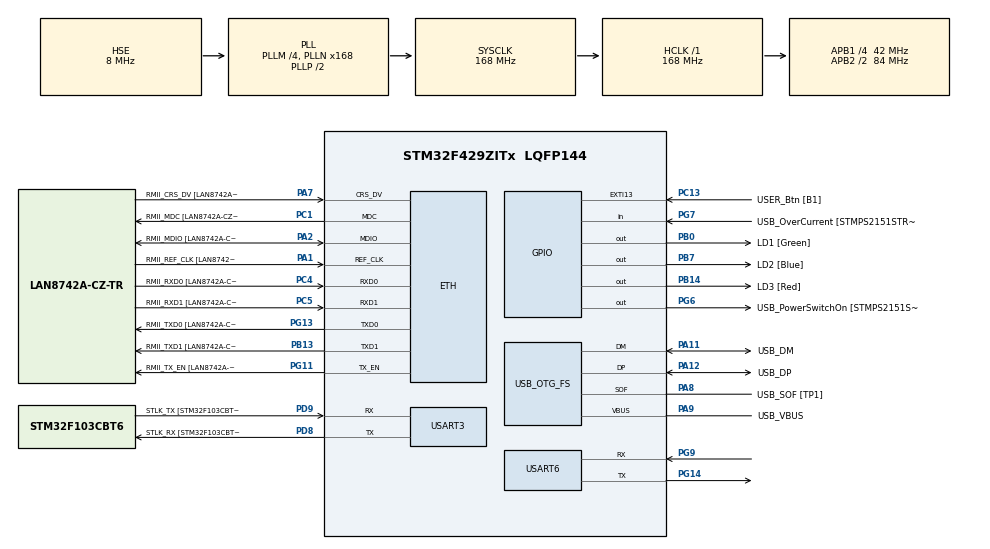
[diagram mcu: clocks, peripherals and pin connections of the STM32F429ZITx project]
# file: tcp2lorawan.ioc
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ADC1.Channel-0\#ChannelRegularConversion=ADC_CHANNEL_VREFINT
ADC1.Channel-1\#ChannelRegularConversion=ADC_CHANNEL_TEMPSENSOR
ADC1.NbrOfConversion=2
ADC1.NbrOfConversionFlag=1
ADC1.Rank-0\#ChannelRegularConversion=1
ADC1.Rank-1\#ChannelRegularConversion=2
ADC1.SamplingTime-0\#ChannelRegularConversion=ADC_SAMPLETIME_3CYCLES
ADC1.SamplingTime-1\#ChannelRegularConversion=ADC_SAMPLETIME_3CYCLES
ADC1.master=1
ETH.MediaInterface=ETH_MEDIA_INTERFACE_RMII
ETH.PHY_Name=LAN8742A_PHY_ADDRESS
ETH.PHY_Value=0
ETH.PhyAddress=0
IWDG.Prescaler=IWDG_PRESCALER_128
LWIP.IP_ADDRESS=192.168.141.132
LWIP.LWIP_DBG_MIN_LEVEL=LWIP_DBG_LEVEL_WARNING
LWIP.LWIP_DHCP=0
LWIP.LWIP_UDP=0
LWIP.NETMASK_ADDRESS=255.255.255.000
LWIP.Version=v2.0.3_Cube
Mcu.Family=STM32F4
Mcu.Name=STM32F429ZITx
Mcu.Package=LQFP144
NVIC.ADC_IRQn=true\:0\:0\:false\:false\:true\:true\:true
NVIC.OTG_FS_IRQn=true\:0\:0\:false\:false\:true\:false\:true
NVIC.PriorityGroup=NVIC_PRIORITYGROUP_4
NVIC.USART6_IRQn=true\:0\:0\:false\:false\:true\:true\:true
PA1.GPIO_Label=RMII_REF_CLK [LAN8742A-CZ-TR_REFCLK0]
PA1.Mode=RMII
PA1.Signal=ETH_REF_CLK
PA10.GPIO_Label=USB_ID
PA10.Signal=USB_OTG_FS_ID
PA11.GPIO_Label=USB_DM
PA11.Mode=Device_Only
PA11.Signal=USB_OTG_FS_DM
PA12.GPIO_Label=USB_DP
PA12.Mode=Device_Only
PA12.Signal=USB_OTG_FS_DP
PA13.GPIO_Label=TMS
PA13.Mode=Serial_Wire
PA13.Signal=SYS_JTMS-SWDIO
PA14.GPIO_Label=TCK
PA14.Mode=Serial_Wire
PA14.Signal=SYS_JTCK-SWCLK
PA2.GPIO_Label=RMII_MDIO [LAN8742A-CZ-TR_MDIO]
PA2.Mode=RMII
PA2.Signal=ETH_MDIO
PA7.GPIO_Label=RMII_CRS_DV [LAN8742A-CZ-TR_CRS_DV]
PA7.Mode=RMII
PA7.Signal=ETH_CRS_DV
PA8.GPIO_Label=USB_SOF [TP1]
PA8.Mode=Activate_SOF_FS
PA8.Signal=USB_OTG_FS_SOF
PA9.GPIO_Label=USB_VBUS
PA9.Mode=Activate_VBUS
PA9.Signal=USB_OTG_FS_VBUS
PB0.GPIO_Label=LD1 [Green]
PB0.Signal=GPIO_Output
PB13.GPIO_Label=RMII_TXD1 [LAN8742A-CZ-TR_TXD1]
PB13.Mode=RMII
PB13.Signal=ETH_TXD1
PB14.GPIO_Label=LD3 [Red]
PB14.Signal=GPIO_Output
PB7.GPIO_Label=LD2 [Blue]
PB7.Signal=GPIO_Output
PC1.GPIO_Label=RMII_MDC [LAN8742A-CZ-TR_MDC]
PC1.Mode=RMII
PC1.Signal=ETH_MDC
PC13.GPIO_Label=USER_Btn [B1]
PC13.Signal=GPXTI13
PC14/OSC32_IN.Mode=LSE-External-Oscillator
PC14/OSC32_IN.Signal=RCC_OSC32_IN
PC15/OSC32_OUT.Mode=LSE-External-Oscillator
PC15/OSC32_OUT.Signal=RCC_OSC32_OUT
PC4.GPIO_Label=RMII_RXD0 [LAN8742A-CZ-TR_RXD0]
PC4.Mode=RMII
PC4.Signal=ETH_RXD0
PC5.GPIO_Label=RMII_RXD1 [LAN8742A-CZ-TR_RXD1]
PC5.Mode=RMII
PC5.Signal=ETH_RXD1
PD8.GPIO_Label=STLK_RX [STM32F103CBT6_PA3]
PD8.Mode=Asynchronous
PD8.Signal=USART3_TX
PD9.GPIO_Label=STLK_TX [STM32F103CBT6_PA2]
PD9.Mode=Asynchronous
PD9.Signal=USART3_RX
PG11.GPIO_Label=RMII_TX_EN [LAN8742A-CZ-TR_TXEN]
PG11.Mode=RMII
PG11.Signal=ETH_TX_EN
PG13.GPIO_Label=RMII_TXD0 [LAN8742A-CZ-TR_TXD0]
PG13.Mode=RMII
PG13.Signal=ETH_TXD0
PG14.Mode=Asynchronous
PG14.Signal=USART6_TX
PG6.GPIO_Label=USB_PowerSwitchOn [STMPS2151STR_EN]
PG6.Signal=GPIO_Output
PG7.GPIO_Label=USB_OverCurrent [STMPS2151STR_FAULT]
PG7.Signal=GPIO_Input
PG9.Mode=Asynchronous
PG9.Signal=USART6_RX
PH0/OSC_IN.GPIO_Label=MCO [STM32F103CBT6_PA8]
PH0/OSC_IN.Mode=HSE-External-Clock-Source
PH0/OSC_IN.Signal=RCC_OSC_IN
PH1/OSC_OUT.Mode=HSE-External-Clock-Source
PH1/OSC_OUT.Signal=RCC_OSC_OUT
ProjectManager.HeapSize=0x200
ProjectManager.StackSize=0x400
ProjectManager.TargetToolchain=STM32CubeIDE
RCC.48MHZClocksFreq_Value=48000000
RCC.AHBFreq_Value=168000000
RCC.APB1CLKDivider=RCC_HCLK_DIV4
RCC.APB1Freq_Value=42000000
RCC.APB1TimFreq_Value=84000000
RCC.APB2CLKDivider=RCC_HCLK_DIV2
RCC.APB2Freq_Value=84000000
RCC.APB2TimCLKDivider=2
RCC.APB2TimFreq_Value=168000000
RCC.CortexFreq_Value=168000000
RCC.HCLKFreq_Value=168000000
RCC.HSE_VALUE=8000000
RCC.HSI_VALUE=16000000
RCC.PLLM=4
RCC.PLLMUL=RCC_PLL_MUL9
RCC.PLLN=168
RCC.PLLQ=7
RCC.PRESCALERUSB=RCC_USBCLKSOURCE_PLL_DIV1_5
RCC.SYSCLKFreq_VALUE=168000000
RCC.SYSCLKSource=RCC_SYSCLKSOURCE_PLLCLK
RCC.SYSCLKSourceVirtual=RCC_SYSCLKSOURCE_PLLCLK
RCC.USBFreq_Value=48000000
RCC.VCOOutputFreq_Value=336000000
USART3.VirtualMode=VM_ASYNC
USART6.VirtualMode=VM_ASYNC
USB_DEVICE.CLASS_NAME_FS=DFU
USB_DEVICE.USBD_DEBUG_LEVEL-DFU_FS=2
USB_DEVICE.VirtualMode-DFU_FS=Dfu
USB_DEVICE.VirtualModeFS=Dfu_FS
USB_OTG_FS.VirtualMode=Device_Only
VP_ADC1_TempSens_Input.Mode=IN-TempSens
VP_ADC1_Vref_Input.Mode=IN-Vrefint
VP_IWDG_VS_IWDG.Mode=IWDG_Activate
VP_LWIP_VS_Enabled.Mode=Enabled
VP_RTC_VS_RTC_Activate.Mode=RTC_Enabled
VP_USB_DEVICE_VS_USB_DEVICE_DFU_FS.Mode=DFU_FS
board=NUCLEO-F429ZI

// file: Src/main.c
/* USER CODE BEGIN Header */
/**
  ******************************************************************************
  * @file           : main.c
  * @brief          : Main program body
  ******************************************************************************
  * @attention
  *
  * <h2><center>&copy; Copyright (c) 2019 STMicroelectronics.
  * All rights reserved.</center></h2>
  *
  * This software component is licensed by ST under Ultimate Liberty license
  * SLA0044, the "License"; You may not use this file except in compliance with
  * the License. You may obtain a copy of the License at:
  *                             www.st.com/SLA0044
  *
  ******************************************************************************
  */
/* USER CODE END Header */

#include "main.h"
#include "lwip.h"
#include "usb_device.h"

/* USER CODE BEGIN Includes */
#include "lwip/init.h"
#include "app_ethernet.h"
#include "tcp_echoclient.h"
#include "WiMOD_LoRaWAN_API.h"
#include "utilities.h"
/* USER CODE END Includes */

ADC_HandleTypeDef hadc1;

IWDG_HandleTypeDef hiwdg;

RTC_HandleTypeDef hrtc;

UART_HandleTypeDef huart3;
UART_HandleTypeDef huart6;

/* USER CODE BEGIN PV */
extern uint8_t UsartTextString;
/* Variable used to get converted value */
__IO uint16_t uhADCxConvertedValue = 0;
static __IO uint16_t BatteryVoltage = BATTERY_MAX_LEVEL;

/* USER CODE END PV */

void SystemClock_Config(void);
static void MX_GPIO_Init(void);
static void MX_USART3_UART_Init(void);
static void MX_USART6_UART_Init(void);
static void MX_ADC1_Init(void);
static void MX_IWDG_Init(void);
static void MX_RTC_Init(void);
/* USER CODE BEGIN PFP */
static void BSP_Config(void);
void WiMOD_init( void );
/* USER CODE END PFP */

/* USER CODE BEGIN 0 */
void WiMOD_init( void ) {
	Ping();
	HAL_Delay(200);
	Deactivate();
	HAL_Delay(500);
	GetDeviceInfo();
	HAL_Delay(500);
	SetOPMODE();
	HAL_Delay(500);
	SetRadioStack();
	HAL_Delay(500);
}
/* USER CODE END 0 */

int main(void)
{

  /* MCU Configuration--------------------------------------------------------*/

  /* Reset of all peripherals, Initializes the Flash interface and the Systick. */
  HAL_Init();

  /* Configure the system clock */
  SystemClock_Config();

  /* USER CODE BEGIN SysInit */
  __HAL_DBGMCU_FREEZE_IWDG();
  /* USER CODE END SysInit */

  /* Initialize all configured peripherals */
  MX_GPIO_Init();
  MX_USART3_UART_Init();
  MX_USART6_UART_Init();
  MX_LWIP_Init();
  MX_ADC1_Init();
  MX_IWDG_Init();
  MX_RTC_Init();
  MX_USB_DEVICE_Init();
  /* USER CODE BEGIN 2 */

  BSP_Config();

  tcp_echoclient_connect();

  WiMOD_LoRaWAN_Init(&huart6);
  WiMOD_init();
  ActivateABP();

  /* USER CODE END 2 */

  /* Infinite loop */
  /* USER CODE BEGIN WHILE */
  while (1)
  {
	  MX_LWIP_Process();
    /* USER CODE END WHILE */

    /* USER CODE BEGIN 3 */
	//Read ADC Battery
//	  SetBatLVL(BoardGetBatteryLevel());

	  HAL_Delay(1000);
	  BSP_LED_Toggle(LED_GREEN);
	  HAL_IWDG_Refresh(&hiwdg);
  }
  /* USER CODE END 3 */
}

void SystemClock_Config(void)
{
  RCC_OscInitTypeDef RCC_OscInitStruct = {0};
  RCC_ClkInitTypeDef RCC_ClkInitStruct = {0};
  RCC_PeriphCLKInitTypeDef PeriphClkInitStruct = {0};

  /** Configure the main internal regulator output voltage
  */
  __HAL_RCC_PWR_CLK_ENABLE();
  __HAL_PWR_VOLTAGESCALING_CONFIG(PWR_REGULATOR_VOLTAGE_SCALE1);
  /** Initializes the CPU, AHB and APB busses clocks
  */
  RCC_OscInitStruct.OscillatorType = RCC_OSCILLATORTYPE_LSI|RCC_OSCILLATORTYPE_HSE;
  RCC_OscInitStruct.HSEState = RCC_HSE_BYPASS;
  RCC_OscInitStruct.LSIState = RCC_LSI_ON;
  RCC_OscInitStruct.PLL.PLLState = RCC_PLL_ON;
  RCC_OscInitStruct.PLL.PLLSource = RCC_PLLSOURCE_HSE;
  RCC_OscInitStruct.PLL.PLLM = 4;
  RCC_OscInitStruct.PLL.PLLN = 168;
  RCC_OscInitStruct.PLL.PLLP = RCC_PLLP_DIV2;
  RCC_OscInitStruct.PLL.PLLQ = 7;
  if (HAL_RCC_OscConfig(&RCC_OscInitStruct) != HAL_OK)
  {
    Error_Handler();
  }
  /** Initializes the CPU, AHB and APB busses clocks
  */
  RCC_ClkInitStruct.ClockType = RCC_CLOCKTYPE_HCLK|RCC_CLOCKTYPE_SYSCLK
                              |RCC_CLOCKTYPE_PCLK1|RCC_CLOCKTYPE_PCLK2;
  RCC_ClkInitStruct.SYSCLKSource = RCC_SYSCLKSOURCE_PLLCLK;
  RCC_ClkInitStruct.AHBCLKDivider = RCC_SYSCLK_DIV1;
  RCC_ClkInitStruct.APB1CLKDivider = RCC_HCLK_DIV4;
  RCC_ClkInitStruct.APB2CLKDivider = RCC_HCLK_DIV2;

  if (HAL_RCC_ClockConfig(&RCC_ClkInitStruct, FLASH_LATENCY_5) != HAL_OK)
  {
    Error_Handler();
  }
  PeriphClkInitStruct.PeriphClockSelection = RCC_PERIPHCLK_RTC;
  PeriphClkInitStruct.RTCClockSelection = RCC_RTCCLKSOURCE_LSI;
  if (HAL_RCCEx_PeriphCLKConfig(&PeriphClkInitStruct) != HAL_OK)
  {
    Error_Handler();
  }
}

static void MX_ADC1_Init(void)
{

  ADC_ChannelConfTypeDef sConfig = {0};

  /** Configure the global features of the ADC (Clock, Resolution, Data Alignment and number of conversion)
  */
  hadc1.Instance = ADC1;
  hadc1.Init.ClockPrescaler = ADC_CLOCK_SYNC_PCLK_DIV4;
  hadc1.Init.Resolution = ADC_RESOLUTION_12B;
  hadc1.Init.ScanConvMode = ENABLE;
  hadc1.Init.ContinuousConvMode = DISABLE;
  hadc1.Init.DiscontinuousConvMode = DISABLE;
  hadc1.Init.ExternalTrigConvEdge = ADC_EXTERNALTRIGCONVEDGE_NONE;
  hadc1.Init.ExternalTrigConv = ADC_SOFTWARE_START;
  hadc1.Init.DataAlign = ADC_DATAALIGN_RIGHT;
  hadc1.Init.NbrOfConversion = 2;
  hadc1.Init.DMAContinuousRequests = DISABLE;
  hadc1.Init.EOCSelection = ADC_EOC_SINGLE_CONV;
  if (HAL_ADC_Init(&hadc1) != HAL_OK)
  {
    Error_Handler();
  }
  /** Configure for the selected ADC regular channel its corresponding rank in the sequencer and its sample time.
  */
  sConfig.Channel = ADC_CHANNEL_VREFINT;
  sConfig.Rank = 1;
  sConfig.SamplingTime = ADC_SAMPLETIME_144CYCLES;
  if (HAL_ADC_ConfigChannel(&hadc1, &sConfig) != HAL_OK)
  {
    Error_Handler();
  }
//  /** Configure for the selected ADC regular channel its corresponding rank in the sequencer and its sample time.
//  */
//  sConfig.Channel = ADC_CHANNEL_TEMPSENSOR;
//  sConfig.Rank = 2;
//  if (HAL_ADC_ConfigChannel(&hadc1, &sConfig) != HAL_OK)
//  {
//    Error_Handler();
//  }

}

static void MX_IWDG_Init(void)
{

  hiwdg.Instance = IWDG;
  hiwdg.Init.Prescaler = IWDG_PRESCALER_128;
  hiwdg.Init.Reload = 4095;
  if (HAL_IWDG_Init(&hiwdg) != HAL_OK)
  {
    Error_Handler();
  }

}

static void MX_RTC_Init(void)
{

  /** Initialize RTC Only
  */
  hrtc.Instance = RTC;
  hrtc.Init.HourFormat = RTC_HOURFORMAT_24;
  hrtc.Init.AsynchPrediv = 127;
  hrtc.Init.SynchPrediv = 255;
  hrtc.Init.OutPut = RTC_OUTPUT_DISABLE;
  hrtc.Init.OutPutPolarity = RTC_OUTPUT_POLARITY_HIGH;
  hrtc.Init.OutPutType = RTC_OUTPUT_TYPE_OPENDRAIN;
  if (HAL_RTC_Init(&hrtc) != HAL_OK)
  {
    Error_Handler();
  }

}

static void MX_USART3_UART_Init(void)
{

  huart3.Instance = USART3;
  huart3.Init.BaudRate = 115200;
  huart3.Init.WordLength = UART_WORDLENGTH_8B;
  huart3.Init.StopBits = UART_STOPBITS_1;
  huart3.Init.Parity = UART_PARITY_NONE;
  huart3.Init.Mode = UART_MODE_TX_RX;
  huart3.Init.HwFlowCtl = UART_HWCONTROL_NONE;
  huart3.Init.OverSampling = UART_OVERSAMPLING_16;
  if (HAL_UART_Init(&huart3) != HAL_OK)
  {
    Error_Handler();
  }

}

static void MX_USART6_UART_Init(void)
{

  huart6.Instance = USART6;
  huart6.Init.BaudRate = 115200;
  huart6.Init.WordLength = UART_WORDLENGTH_8B;
  huart6.Init.StopBits = UART_STOPBITS_1;
  huart6.Init.Parity = UART_PARITY_NONE;
  huart6.Init.Mode = UART_MODE_TX_RX;
  huart6.Init.HwFlowCtl = UART_HWCONTROL_NONE;
  huart6.Init.OverSampling = UART_OVERSAMPLING_16;
  if (HAL_UART_Init(&huart6) != HAL_OK)
  {
    Error_Handler();
  }

}

static void MX_GPIO_Init(void)
{
  GPIO_InitTypeDef GPIO_InitStruct = {0};

  /* GPIO Ports Clock Enable */
  __HAL_RCC_GPIOC_CLK_ENABLE();
  __HAL_RCC_GPIOH_CLK_ENABLE();
  __HAL_RCC_GPIOA_CLK_ENABLE();
  __HAL_RCC_GPIOB_CLK_ENABLE();
  __HAL_RCC_GPIOD_CLK_ENABLE();
  __HAL_RCC_GPIOG_CLK_ENABLE();

  /*Configure GPIO pin Output Level */
  HAL_GPIO_WritePin(GPIOB, LD1_Pin|LD3_Pin|LD2_Pin, GPIO_PIN_RESET);

  /*Configure GPIO pin Output Level */
  HAL_GPIO_WritePin(USB_PowerSwitchOn_GPIO_Port, USB_PowerSwitchOn_Pin, GPIO_PIN_RESET);

  /*Configure GPIO pin : USER_Btn_Pin */
  GPIO_InitStruct.Pin = USER_Btn_Pin;
  GPIO_InitStruct.Mode = GPIO_MODE_IT_RISING;
  GPIO_InitStruct.Pull = GPIO_NOPULL;
  HAL_GPIO_Init(USER_Btn_GPIO_Port, &GPIO_InitStruct);

  /*Configure GPIO pins : LD1_Pin LD3_Pin LD2_Pin */
  GPIO_InitStruct.Pin = LD1_Pin|LD3_Pin|LD2_Pin;
  GPIO_InitStruct.Mode = GPIO_MODE_OUTPUT_PP;
  GPIO_InitStruct.Pull = GPIO_NOPULL;
  GPIO_InitStruct.Speed = GPIO_SPEED_FREQ_LOW;
  HAL_GPIO_Init(GPIOB, &GPIO_InitStruct);

  /*Configure GPIO pin : USB_PowerSwitchOn_Pin */
  GPIO_InitStruct.Pin = USB_PowerSwitchOn_Pin;
  GPIO_InitStruct.Mode = GPIO_MODE_OUTPUT_PP;
  GPIO_InitStruct.Pull = GPIO_NOPULL;
  GPIO_InitStruct.Speed = GPIO_SPEED_FREQ_LOW;
  HAL_GPIO_Init(USB_PowerSwitchOn_GPIO_Port, &GPIO_InitStruct);

  /*Configure GPIO pin : USB_OverCurrent_Pin */
  GPIO_InitStruct.Pin = USB_OverCurrent_Pin;
  GPIO_InitStruct.Mode = GPIO_MODE_INPUT;
  GPIO_InitStruct.Pull = GPIO_NOPULL;
  HAL_GPIO_Init(USB_OverCurrent_GPIO_Port, &GPIO_InitStruct);

}

/* USER CODE BEGIN 4 */

int _read(int file, char *ptr, int len)
{
	int DataIdx;

	for (DataIdx = 0; DataIdx < len; DataIdx++)
	{
		HAL_UART_Receive(&huart3, (uint8_t *) ptr++ ,1, 500);
	}

return len;
}

int _write(int file, char *ptr, int len)
{
	int DataIdx;

	for (DataIdx = 0; DataIdx < len; DataIdx++)
	{
		HAL_UART_Transmit(&huart3, (uint8_t *) ptr++ ,1, 500);
	}
	return len;
}

/**
  * @brief  Configures the BSP.
  * @param  None
  * @retval None
  */
static void BSP_Config(void)
{
  /* Configure LED1, LED2 */
  BSP_LED_Init(LED1);
  BSP_LED_Init(LED2);
  BSP_LED_Init(LED3);

  /* Set Systick Interrupt to the highest priority */
//  HAL_NVIC_SetPriority(SysTick_IRQn, 0x0, 0x0);

  /* Configure Key Button */
  BSP_PB_Init(BUTTON_KEY, BUTTON_MODE_EXTI);

  /* Init IO Expander */
//  BSP_IO_Init();

  /* Enable IO Expander interrupt for ETH MII pin */
//  BSP_IO_ConfigPin(MII_INT_PIN, IO_MODE_IT_FALLING_EDGE);

#ifdef USE_LCD

  /* Initialize the LCD */
  BSP_LCD_Init();

  /* Initialize the LCD Layers */
  BSP_LCD_LayerDefaultInit(1, LCD_FB_START_ADDRESS);

  /* Set LCD Foreground Layer  */
  BSP_LCD_SelectLayer(1);

  BSP_LCD_SetFont(&LCD_DEFAULT_FONT);

  /* Initialize LCD Log module */
  LCD_LOG_Init();

  /* Show Header and Footer texts */
  LCD_LOG_SetHeader((uint8_t *)"TCP Echo Client Application");
  LCD_LOG_SetFooter((uint8_t *)"STM324x9I-EVAL board");

  LCD_UsrLog ("  State: Ethernet Initialization ...\n");
#endif
}

/**
  * @brief EXTI line detection callbacks
  * @param GPIO_Pin: Specifies the pins connected EXTI line
  * @retval None
  */
void HAL_GPIO_EXTI_Callback(uint16_t GPIO_Pin)
{

  if (GPIO_Pin == GPIO_PIN_13)
  {
     /*connect to tcp server */
     tcp_echoclient_connect();
  }
}

void HAL_UART_RxCpltCallback(UART_HandleTypeDef * handler) {
	if (handler->Instance == USART6) {
		WiMOD_LoRaWAN_Process();
		HAL_UART_Receive_IT(handler, &UsartTextString, 1);
		BSP_LED_Toggle(LED_RED);
	}
}

void BoardCriticalSectionBegin( uint32_t *mask )
{
    *mask = __get_PRIMASK( );
    __disable_irq( );
}

void BoardCriticalSectionEnd( uint32_t *mask )
{
    __set_PRIMASK( *mask );
}

uint16_t BoardBatteryMeasureVolage( void )
{
    uint32_t batteryVoltage = 0;

    // Read the current Voltage
    if(HAL_ADC_Start(&hadc1) != HAL_OK)
	{
	  /* Start Conversation Error */
	  Error_Handler();
	}
	/*##-4- Wait for the end of conversion #####################################*/
	/*  Before starting a new conversion, you need to check the current state of
	 the peripheral; if it’s busy you need to wait for the end of current
	 conversion before starting a new one.
	 For simplicity reasons, this example is just waiting till the end of the
	 conversion, but application may perform other tasks while conversion
	 operation is ongoing. */
	HAL_ADC_PollForConversion(&hadc1, 10);

	/* Check if the continuous conversion of regular channel is finished */
	if ((HAL_ADC_GetState(&hadc1) & HAL_ADC_STATE_EOC_REG)
			== HAL_ADC_STATE_EOC_REG) {
		/*##-5- Get the converted value of regular channel  ######################*/
		uhADCxConvertedValue = HAL_ADC_GetValue(&hadc1);
	}

    // We don't use the VREF from calibValues here.
    // calculate the Voltage in millivolt
    batteryVoltage = ( uint32_t )ADC_VREF_BANDGAP * ( uint32_t )ADC_MAX_VALUE;
    batteryVoltage = batteryVoltage / ( uint32_t )uhADCxConvertedValue;

    return batteryVoltage;
}

uint8_t BoardGetBatteryLevel( void )
{
    uint8_t batteryLevel = 0;

    BatteryVoltage = BoardBatteryMeasureVolage( );

	if( BatteryVoltage >= BATTERY_MAX_LEVEL )
	{
		batteryLevel = 254;
	}
	else if( ( BatteryVoltage > BATTERY_MIN_LEVEL ) && ( BatteryVoltage < BATTERY_MAX_LEVEL ) )
	{
		batteryLevel = ( ( 253 * ( BatteryVoltage - BATTERY_MIN_LEVEL ) ) / ( BATTERY_MAX_LEVEL - BATTERY_MIN_LEVEL ) ) + 1;
	}
	else if( ( BatteryVoltage > BATTERY_SHUTDOWN_LEVEL ) && ( BatteryVoltage <= BATTERY_MIN_LEVEL ) )
	{
		batteryLevel = 1;
	}
	else //if( BatteryVoltage <= BATTERY_SHUTDOWN_LEVEL )
	{
		batteryLevel = 255;
	}

    return batteryLevel;
}
/* USER CODE END 4 */

void Error_Handler(void)
{
  /* USER CODE BEGIN Error_Handler_Debug */
  /* User can add his own implementation to report the HAL error return state */
//	CRITICAL_SECTION_BEGIN();
	        	 //Restart system
//	        	NVIC_SystemReset();
  /* USER CODE END Error_Handler_Debug */
}

/************************ (C) COPYRIGHT STMicroelectronics *****END OF FILE****/
